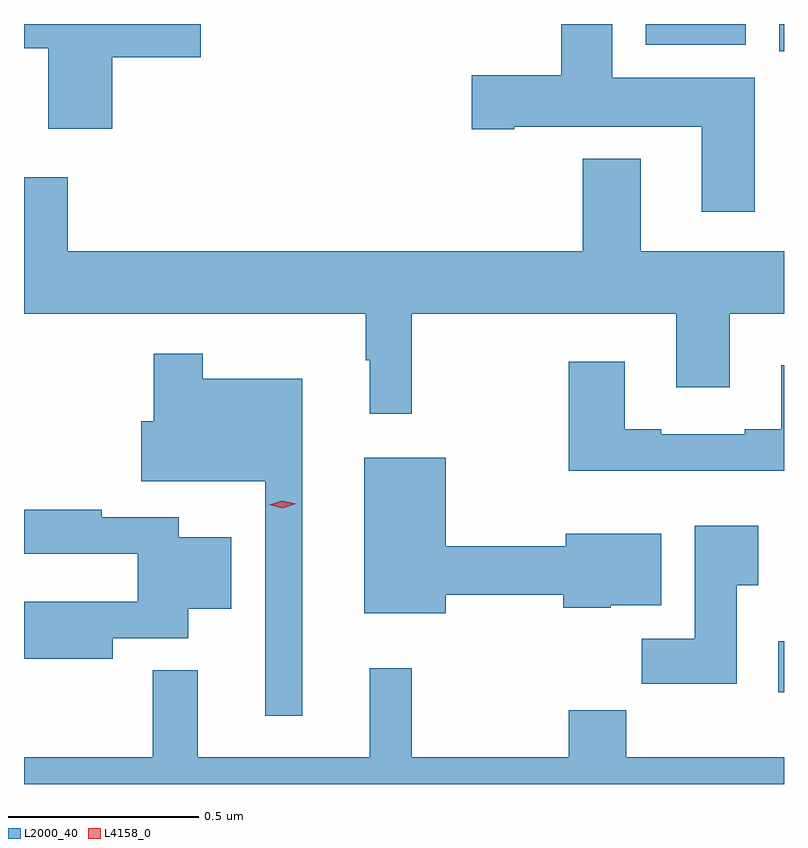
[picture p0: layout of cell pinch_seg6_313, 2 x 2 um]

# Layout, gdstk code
import gdstk
lib = gdstk.Library(unit=1e-6, precision=1e-09)
def R(c, l, rs):  # rectangles x0, y0, x1, y1
    for r in rs: c.add(gdstk.rectangle(r[:2], r[2:], *l))
def P(c, l, *ps):  # polygons
    for p in ps: c.add(gdstk.Polygon(p, *l))
L2000_40 = (2000, 40)
L4158_0 = (4158, 0)

pinch_seg6_313 = lib.new_cell('pinch_seg6_313')
R(pinch_seg6_313, L2000_40, [(666.087,963.656,666.102,963.79), (666.089,965.342,666.102,965.414), (665.738,965.36,666.001,965.414)])
P(pinch_seg6_313, L2000_40, [(666.025,965.272),(665.65,965.272),(665.65,965.414),(665.516,965.414),(665.516,965.279),(665.28,965.279),(665.28,965.137),(665.392,965.137),(665.392,965.144),(665.885,965.144),(665.885,964.92),(666.025,964.92)],
  [(664.334,965.327),(664.567,965.327),(664.567,965.414),(664.102,965.414),(664.102,965.35),(664.166,965.35),(664.166,965.139),(664.334,965.139)],
  [(665.122,964.652),(665.819,964.652),(665.819,964.458),(665.959,964.458),(665.959,964.652),(666.102,964.652),(666.102,964.816),(665.725,964.816),(665.725,965.059),(665.573,965.059),(665.573,964.816),(664.217,964.816),(664.217,965.011),(664.102,965.011),(664.102,964.652),(665.001,964.652),(665.001,964.529),(665.012,964.529),(665.012,964.389),(665.122,964.389)],
  [(664.834,964.48),(664.573,964.48),(664.573,964.546),(664.444,964.546),(664.444,964.369),(664.41,964.369),(664.41,964.211),(664.737,964.211),(664.737,963.594),(664.834,963.594)],
  [(666.102,964.516),(666.095,964.516),(666.095,964.348),(665.999,964.348),(665.999,964.335),(665.779,964.335),(665.779,964.348),(665.683,964.348),(665.683,964.525),(665.536,964.525),(665.536,964.238),(666.102,964.238)],
  [(665.212,963.912),(665.521,963.912),(665.521,963.878),(665.646,963.878),(665.646,963.884),(665.779,963.884),(665.779,964.072),(665.528,964.072),(665.528,964.04),(665.212,964.04),(665.212,964.273),(664.997,964.273),(664.997,963.863),(665.212,963.863)],
  [(664.336,963.798),(664.534,963.798),(664.534,963.875),(664.648,963.875),(664.648,964.063),(664.509,964.063),(664.509,964.116),(664.306,964.116),(664.306,964.136),(664.102,964.136),(664.102,964.02),(664.401,964.02),(664.401,963.894),(664.102,963.894),(664.102,963.743),(664.336,963.743)],
  [(665.977,963.937),(666.034,963.937),(666.034,964.093),(665.867,964.093),(665.867,963.796),(665.728,963.796),(665.728,963.678),(665.977,963.678)],
  [(665.687,963.608),(665.536,963.608),(665.536,963.484),(665.122,963.484),(665.122,963.718),(665.012,963.718),(665.012,963.484),(664.559,963.484),(664.559,963.713),(664.441,963.713),(664.441,963.484),(664.102,963.484),(664.102,963.414),(666.102,963.414),(666.102,963.484),(665.687,963.484)])
P(pinch_seg6_313, L4158_0, [(664.783,964.14),(664.747,964.149),(664.747,964.149),(664.747,964.149),(664.782,964.16),(664.818,964.152),(664.818,964.152),(664.818,964.152)])

lib.write_gds('pinch_seg6_313.gds')
